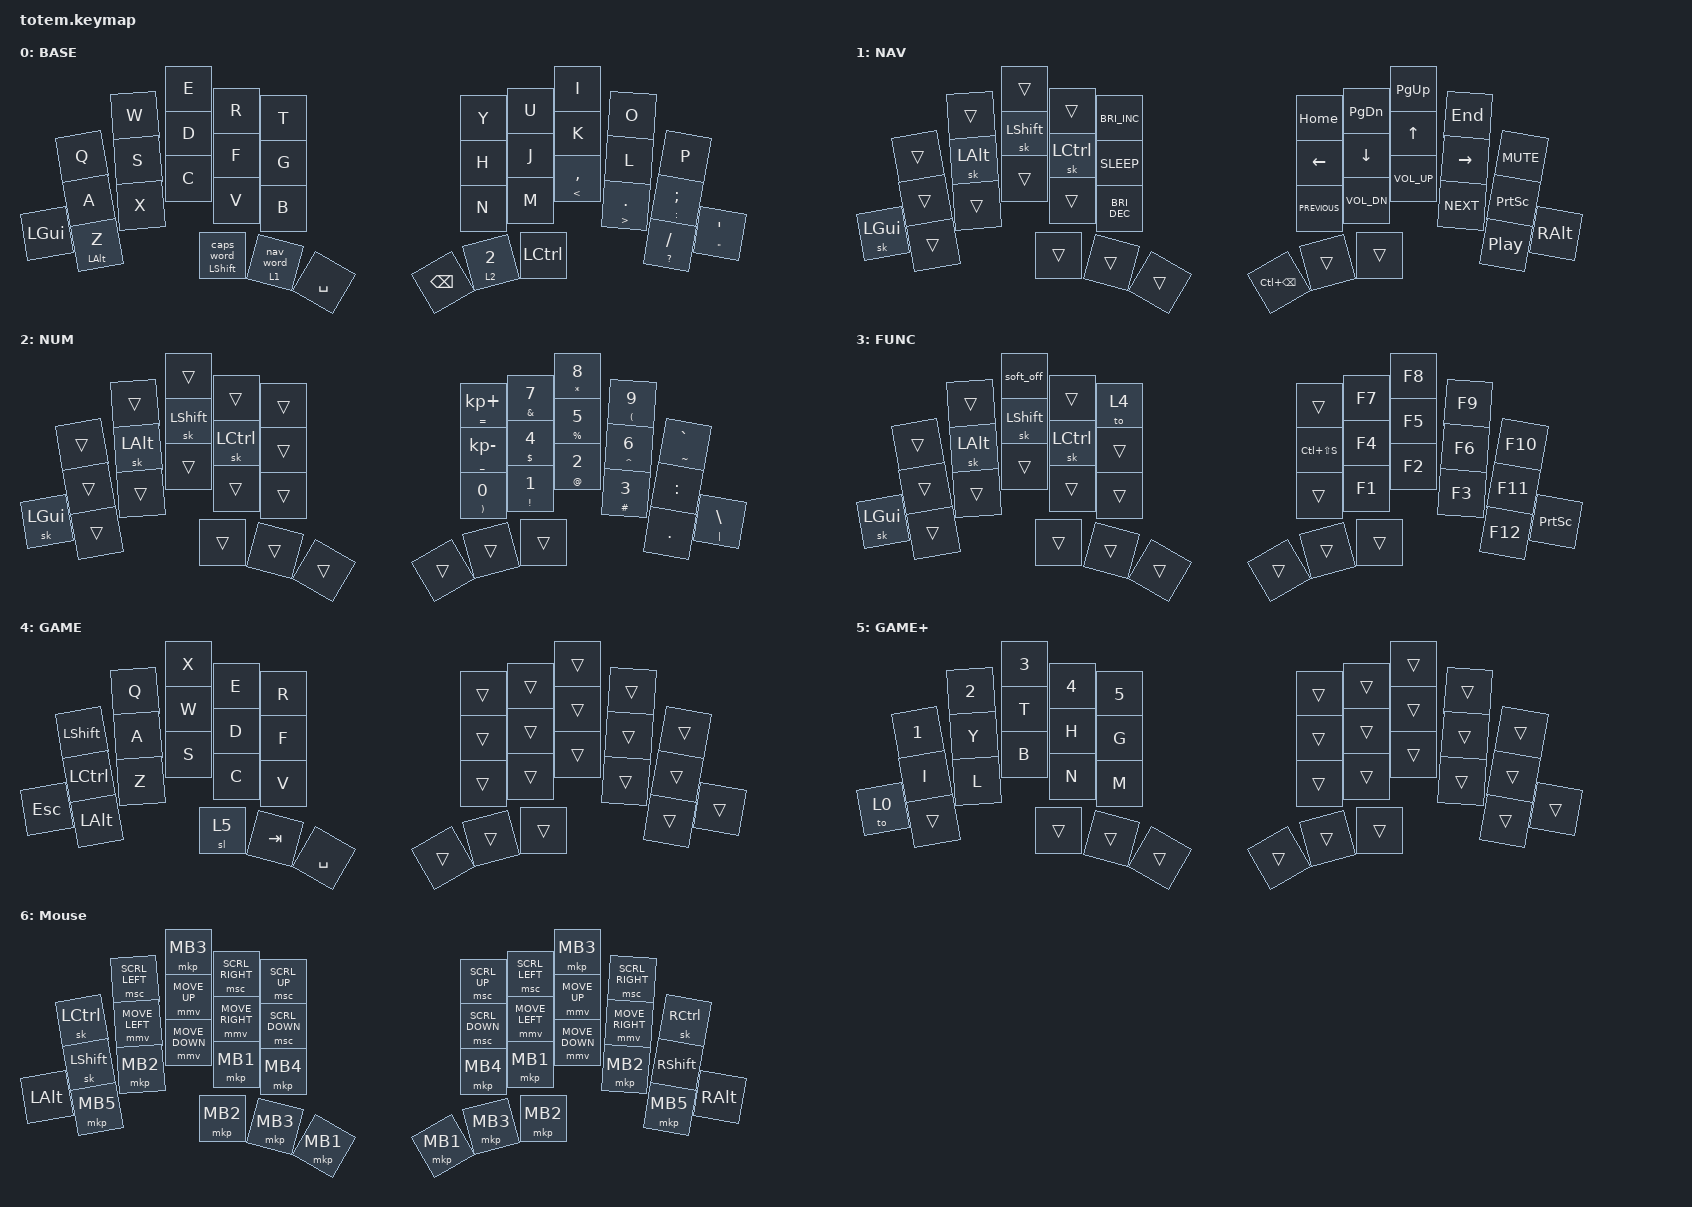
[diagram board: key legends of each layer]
//
//                                                        ▀▀▀▀▀     ▀▀▀▀▀          ▀▀█▀▀
//                                                        ▄▀▀▀▄  ▄  ▄▀▀▀▄  ▄  ▄▀▀▀▄  █  ▄▀▀▀▄
//                                                        █   █  █  █   █  █  █   █  █  █   █
//                                                         ▀▀▀   █   ▀▀▀   █   ▀▀▀   ▀   ▀▀▀
//                                                               █      ▄▄▄█▄▄▄    █   █  
//                                                               ▀      █  █  █     █▄█
//                                                             ▀▀▀▀▀    █  █  █      ▀
//                                                                      ▀  ▀  ▀
//
// ▄▄▄▄▄▄▄▄▄▄▄▄▄▄▄▄▄▄▄▄▄▄▄▄▄▄▄▄▄▄▄▄▄▄▄▄▄▄▄▄▄▄▄▄▄▄▄▄▄▄▄▄▄▄▄▄▄▄▄▄▄▄▄▄▄▄▄▄▄▄▄▄▄▄▄▄▄▄▄▄▄▄▄▄▄▄▄▄▄▄▄▄▄▄▄▄▄▄▄▄▄▄▄▄▄▄▄▄▄▄▄▄▄▄▄▄▄▄▄▄▄▄▄▄▄▄▄▄▄▄▄▄▄▄▄▄▄▄▄▄▄▄▄▄▄▄▄▄▄

#include <behaviors/num_word.dtsi>
#include <behaviors.dtsi>
#include <dt-bindings/zmk/bt.h>
#include <dt-bindings/zmk/ext_power.h>
#include <dt-bindings/zmk/keys.h>
#include <dt-bindings/zmk/outputs.h>
#include <dt-bindings/zmk/pointing.h>

#define BASE 0
#define NAV  1
#define SYM  2
#define ADJ  3
#define TVP1 4
#define TVP2 5

&mt {
    quick-tap-ms = <100>;
    global-quick-tap;
    flavor = "tap-preferred";
    require-prior-idle-ms = <125>;
};

/ {
    combos {
        compatible = "zmk,combos";

        Undo {
            bindings = <&kp LC(Z)>;
            key-positions = <21 22>;
            timeout-ms = <50>;
            layers = <0>;
        };

        Cut {
            bindings = <&kp LC(X)>;
            key-positions = <23 22>;
            timeout-ms = <50>;
            layers = <0>;
        };

        Copy {
            bindings = <&kp LC(C)>;
            key-positions = <24 23>;
            timeout-ms = <50>;
            layers = <0>;
        };

        Paste {
            bindings = <&kp LC(V)>;
            key-positions = <24 22 23>;
            timeout-ms = <50>;
            layers = <0>;
        };

        left_parenthesis {
            bindings = <&kp LEFT_PARENTHESIS>;
            key-positions = <4 2>;
            timeout-ms = <30>;
            layers = <0>;
        };

        right_parenthesis {
            bindings = <&kp RIGHT_PARENTHESIS>;
            key-positions = <5 7>;
            timeout-ms = <30>;
            layers = <0>;
        };

        left_brace {
            bindings = <&kp LEFT_BRACE>;
            key-positions = <14 12>;
            timeout-ms = <30>;
            layers = <0>;
        };

        right_brace {
            bindings = <&kp RIGHT_BRACE>;
            key-positions = <15 17>;
            timeout-ms = <30>;
            layers = <0>;
        };

        left_bracket {
            bindings = <&kp LEFT_BRACKET>;
            key-positions = <25 23>;
            timeout-ms = <30>;
            layers = <0>;
        };

        right_bracket {
            bindings = <&kp RIGHT_BRACKET>;
            key-positions = <26 28>;
            timeout-ms = <30>;
            layers = <0>;
        };

        B1 {
            bindings = <&bt BT_SEL 0>;
            key-positions = <31 0>;
            layers = <0>;
        };

        B2 {
            bindings = <&bt BT_SEL 1>;
            key-positions = <31 1>;
            layers = <0>;
        };

        B3 {
            bindings = <&bt BT_SEL 2>;
            key-positions = <31 2>;
            layers = <0>;
        };

        B4 {
            bindings = <&bt BT_SEL 3>;
            key-positions = <31 3>;
            layers = <0>;
        };

        B5 {
            bindings = <&bt BT_SEL 4>;
            key-positions = <31 4>;
            layers = <0>;
        };

        B1D {
            bindings = <&bt BT_DISC 0>;
            key-positions = <31 10>;
            layers = <0>;
        };

        B2D {
            bindings = <&bt BT_DISC 1>;
            key-positions = <31 11>;
            layers = <0>;
        };

        B3D {
            bindings = <&bt BT_DISC 2>;
            key-positions = <31 12>;
            layers = <0>;
        };

        B4D {
            bindings = <&bt BT_DISC 3>;
            key-positions = <31 13>;
            layers = <0>;
        };

        B5D {
            bindings = <&bt BT_DISC 4>;
            key-positions = <31 14>;
            layers = <0>;
        };

        BCA {
            bindings = <&bt BT_CLR_ALL>;
            key-positions = <31 20>;
            layers = <0>;
        };

        BC {
            bindings = <&bt BT_CLR>;
            key-positions = <31 21>;
            layers = <0>;
        };

        EP-ON {
            bindings = <&ext_power EP_ON>;
            key-positions = <25 31>;
            layers = <0>;
        };

        BT {
            bindings = <&out OUT_BLE>;
            key-positions = <23 31>;
            layers = <0>;
        };

        USB {
            bindings = <&out OUT_USB>;
            key-positions = <31 24>;
            layers = <0>;
        };

        Reset {
            bindings = <&sys_reset>;
            key-positions = <0 21 9 30>;
            layers = <0>;
        };

        Redo {
            bindings = <&kp K_REDO>;
            key-positions = <10 11>;
            timeout-ms = <50>;
            layers = <0>;
        };

        MouseL {
            bindings = <&to 6>;
            key-positions = <12 11 13>;
            timeout-ms = <35>;
            layers = <0>;
        };

        MouseR {
            bindings = <&to 6>;
            key-positions = <17 18 16>;
            timeout-ms = <35>;
            layers = <0>;
        };

        MouseL_E {
            bindings = <&to 0>;
            key-positions = <11 12 13>;
            timeout-ms = <35>;
            layers = <6>;
        };

        MouseR_E {
            bindings = <&to 0>;
            key-positions = <18 17 16>;
            timeout-ms = <35>;
            layers = <6>;
        };

        Escape {
            bindings = <&kp ESCAPE>;
            key-positions = <1 2>;
            timeout-ms = <50>;
            layers = <0 2>;
        };

        Tab {
            bindings = <&kp TAB>;
            key-positions = <11 12>;
            timeout-ms = <50>;
            layers = <0 2>;
        };

        Enter {
            bindings = <&kp ENTER>;
            key-positions = <17 18>;
            timeout-ms = <50>;
            layers = <0 2>;
        };

        Deleted {
            bindings = <&kp DELETE>;
            key-positions = <7 8>;
            timeout-ms = <50>;
            layers = <0 2>;
        };
    };

    behaviors {
        Mod_Tap_L: Mod_Tap_L {
            compatible = "zmk,behavior-hold-tap";
            label = "MTL";
            bindings = <&kp>, <&kp>;

            #binding-cells = <2>;
            tapping-term-ms = <200>;
            flavor = "tap-preferred";
            hold-trigger-key-positions = <35 36 37 26 27 15 16 5 6 7 17 28 29 18 8 9 19 30 31 34 33 32>;
            quick-tap-ms = <200>;
            require-prior-idle-ms = <175>;
            hold-trigger-on-release;
        };

        Mod_Tap_R: Mod_Tap_R {
            compatible = "zmk,behavior-hold-tap";
            label = "MOD_TAP_R";
            bindings = <&kp>, <&kp>;

            #binding-cells = <2>;
            tapping-term-ms = <200>;
            flavor = "tap-preferred";
            hold-trigger-key-positions = <0 1 2 3 4 10 11 12 13 14 20 21 22 23 24 25 32 33 34 35 36 37>;
            quick-tap-ms = <200>;
            require-prior-idle-ms = <175>;
            hold-trigger-on-release;
        };

        Thumb_HT: Thumb_HT {
            compatible = "zmk,behavior-hold-tap";
            label = "THUMB_HT";
            bindings = <&kp>, <&kp>;

            #binding-cells = <2>;
            tapping-term-ms = <250>;
            quick-tap-ms = <150>;
            require-prior-idle-ms = <150>;
            flavor = "tap-preferred";
        };

        Backspace_HT: Backspace_HT {
            compatible = "zmk,behavior-hold-tap";
            label = "BACKSPACE_HT";
            bindings = <&mo>, <&kp>;

            #binding-cells = <2>;
            tapping-term-ms = <200>;
            quick-tap-ms = <200>;
            flavor = "balanced";
        };

        CapsWordShift: CapsWordShift {
            compatible = "zmk,behavior-hold-tap";
            label = "CAPSWORDSHIFT";
            bindings = <&kp>, <&caps_word>;

            #binding-cells = <2>;
            tapping-term-ms = <170>;
            quick-tap-ms = <0>;
            flavor = "hold-preferred";
        };

        num_word: num_word {
            compatible = "zmk,behavior-auto-layer";
            #binding-cells = <1>;
            continue-list = <BSPC DEL DOT COMMA MINUS EQUAL KP_PLUS KP_MINUS SLASH BSLH SEMI GRAVE>;
            ignore-numbers;
        };

        num_lt: num_layer_tap {
            compatible = "zmk,behavior-hold-tap";
            #binding-cells = <2>;
            flavor = "balanced";
            tapping-term-ms = <200>;
            quick-tap-ms = <175>;
            bindings = <&mo>, <&num_word>;
        };

        nav_word: nav_word {
            compatible = "zmk,behavior-auto-layer";
            #binding-cells = <1>;
            continue-list = <LEFT DOWN UP RIGHT HOME END PG_UP PG_DN BSPC DEL>;
            ignore-modifiers;
        };

        nav_lt: nav_lt {
            compatible = "zmk,behavior-hold-tap";
            label = "NAV_LT";
            bindings = <&mo>, <&nav_word>;

            #binding-cells = <2>;
            tapping-term-ms = <200>;
            quick-tap-ms = <175>;
            flavor = "balanced";
        };
    };

    keymap {
        compatible = "zmk,keymap";

        Base {
            display-name = "BASE";
            bindings = <
          &kp Q           &kp W  &kp E                   &kp R        &kp T        &kp Y          &kp U        &kp I                &kp O                    &kp P
          &kp A           &kp S  &kp D                   &kp F        &kp G        &kp H          &kp J        &kp K                &kp L                    &mt COLON SEMI
&kp LGUI  &mt LEFT_ALT Z  &kp X  &kp C                   &kp V        &kp B        &kp N          &kp M        &mt LESS_THAN COMMA  &mt GREATER_THAN PERIOD  &mt QUESTION SLASH  &mt DOUBLE_QUOTES SINGLE_QUOTE
                                 &CapsWordShift LSHFT 0  &nav_lt 1 0  &kp SPACE    &kp BACKSPACE  &num_lt 2 2  &kp LCTRL
            >;
        };

        Navigation {
            display-name = "NAV";
            bindings = <
          &trans  &trans    &trans     &trans     &kp C_BRIGHTNESS_INC    &kp HOME           &kp PAGE_DOWN  &kp PAGE_UP   &kp END     &kp K_MUTE
          &trans  &sk LALT  &sk LSHFT  &sk LCTRL  &kp K_SLEEP             &kp LEFT           &kp DOWN       &kp UP_ARROW  &kp RIGHT   &kp PRINTSCREEN
&sk LGUI  &trans  &trans    &trans     &trans     &kp C_BRIGHTNESS_DEC    &kp C_PREVIOUS     &kp C_VOL_DN   &kp C_VOL_UP  &kp C_NEXT  &kp C_PLAY_PAUSE  &kp RIGHT_ALT
                            &trans     &trans     &trans                  &kp LC(BACKSPACE)  &trans         &trans
            >;
        };

        Number {
            display-name = "NUM";
            bindings = <
          &trans  &trans    &trans     &trans     &trans    &mt EQUAL KP_PLUS               &mt AMPERSAND NUMBER_7    &mt ASTRK NUMBER_8  &mt LEFT_PARENTHESIS NUMBER_9  &mt TILDE GRAVE
          &trans  &sk LALT  &sk LSHFT  &sk LCTRL  &trans    &mt UNDERSCORE KP_MINUS         &mt DOLLAR NUMBER_4       &mt PERCENT N5      &mt CARET NUMBER_6             &kp COLON
&sk LGUI  &trans  &trans    &trans     &trans     &trans    &mt RIGHT_PARENTHESIS NUMBER_0  &mt EXCLAMATION NUMBER_1  &mt AT NUMBER_2     &mt HASH NUMBER_3              &kp PERIOD       &mt PIPE BACKSLASH
                            &trans     &trans     &trans    &trans                          &trans                    &trans
            >;
        };

        Function {
            display-name = "FUNC";
            bindings = <
          &trans  &trans    &soft_off  &trans     &to 4     &trans         &kp F7  &kp F8  &kp F9  &kp F10
          &trans  &sk LALT  &sk LSHFT  &sk LCTRL  &trans    &kp LC(LS(S))  &kp F4  &kp F5  &kp F6  &kp F11
&sk LGUI  &trans  &trans    &trans     &trans     &trans    &trans         &kp F1  &kp F2  &kp F3  &kp F12  &kp PRINTSCREEN
                            &trans     &trans     &trans    &trans         &trans  &trans
            >;
        };

        Game {
            display-name = "GAME";
            bindings = <
            &kp LSHFT         &kp Q  &kp X  &kp E    &kp R        &trans  &trans  &trans  &trans  &trans
            &kp LEFT_CONTROL  &kp A  &kp W  &kp D    &kp F        &trans  &trans  &trans  &trans  &trans
&kp ESCAPE  &kp LEFT_ALT      &kp Z  &kp S  &kp C    &kp V        &trans  &trans  &trans  &trans  &trans  &trans
                                     &sl 5  &kp TAB  &kp SPACE    &trans  &trans  &trans
            >;
        };

        GamePlus {
            display-name = "GAME+";
            bindings = <
       &kp NUMBER_1  &kp N2  &kp N3  &kp N4  &kp N5    &trans  &trans  &trans  &trans  &trans
       &kp I         &kp Y   &kp T   &kp H   &kp G     &trans  &trans  &trans  &trans  &trans
&to 0  &trans        &kp L   &kp B   &kp N   &kp M     &trans  &trans  &trans  &trans  &trans  &trans
                             &trans  &trans  &trans    &trans  &trans  &trans
            >;
        };

        Mouse {
            bindings = <
              &sk LEFT_CONTROL  &msc SCRL_LEFT  &mkp MB3        &msc SCRL_RIGHT  &msc SCRL_UP      &msc SCRL_UP    &msc SCRL_LEFT  &mkp MB3        &msc SCRL_RIGHT  &sk RIGHT_CONTROL
              &sk LEFT_SHIFT    &mmv MOVE_LEFT  &mmv MOVE_UP    &mmv MOVE_RIGHT  &msc SCRL_DOWN    &msc SCRL_DOWN  &mmv MOVE_LEFT  &mmv MOVE_UP    &mmv MOVE_RIGHT  &kp RIGHT_SHIFT
&kp LEFT_ALT  &mkp MB5          &mkp MB2        &mmv MOVE_DOWN  &mkp MB1         &mkp MB4          &mkp MB4        &mkp MB1        &mmv MOVE_DOWN  &mkp MB2         &mkp MB5           &kp RIGHT_ALT
                                                &mkp MB2        &mkp MB3         &mkp MB1          &mkp MB1        &mkp MB3        &mkp MB2
            >;

            label = "Mouse";
        };
    };

    conditional_layers {
        compatible = "zmk,conditional-layers";

        Function {
            if-layers = <1 2>;
            then-layer = <3>;
        };
    };
};
